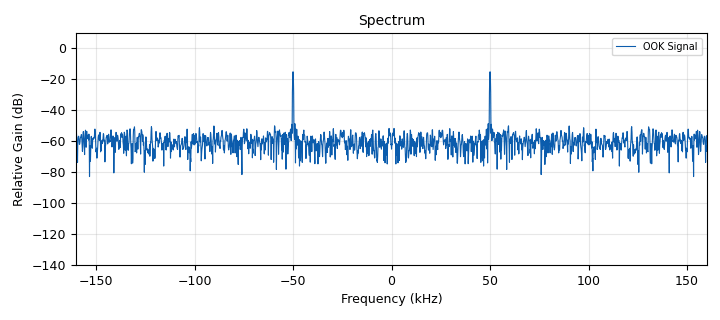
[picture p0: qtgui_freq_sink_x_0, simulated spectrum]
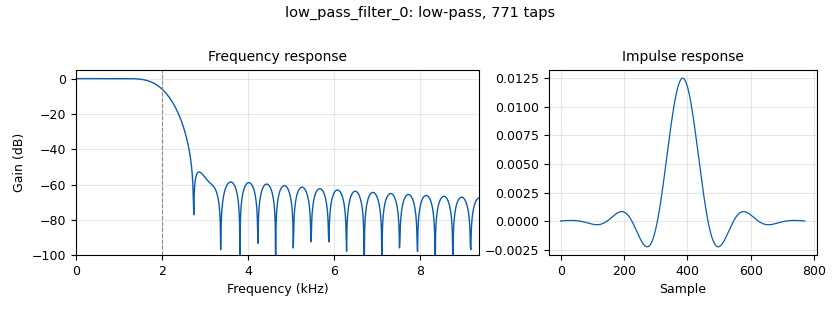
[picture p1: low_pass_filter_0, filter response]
options:
  parameters:
    author: Workshop
    comment: On-Off Keying digital modulation
    description: Simple OOK transmitter and receiver
    generate_options: qt_gui
    id: ook_transceiver
    output_language: python
    title: OOK Transceiver Demo
  states: {}

blocks:
- name: bit_rate
  id: variable
  parameters:
    value: '1000'
  states: {}
- name: carrier_freq
  id: variable_qtgui_range
  parameters:
    gui_hint: 0,0,1,2
    label: Carrier Frequency (Hz)
    start: '10000'
    step: '1000'
    stop: '100000'
    value: '50000'
  states: {}
- name: samp_rate
  id: variable
  parameters:
    value: '320000'
  states: {}
- name: sps
  id: variable
  parameters:
    comment: Samples per symbol
    value: int(samp_rate/bit_rate)
  states: {}
- name: analog_random_source_x_0
  id: analog_random_source_x
  parameters:
    comment: Random bit generator
    max: '2'
    min: '0'
    num_samps: '1000'
    repeat: 'True'
    type: byte
  states: {}
- name: blocks_repeat_0
  id: blocks_repeat
  parameters:
    comment: Upsample bits
    interp: sps
    type: byte
  states: {}
- name: blocks_uchar_to_float_0
  id: blocks_uchar_to_float
  parameters: {}
  states: {}
- name: analog_sig_source_x_0
  id: analog_sig_source_x
  parameters:
    amp: '1'
    comment: Carrier
    freq: carrier_freq
    offset: '0'
    phase: '0'
    samp_rate: samp_rate
    type: float
    waveform: analog.GR_COS_WAVE
  states: {}
- name: blocks_multiply_xx_0
  id: blocks_multiply_xx
  parameters:
    comment: OOK modulation
    type: float
  states: {}
- name: blocks_throttle_0
  id: blocks_throttle
  parameters:
    samples_per_second: samp_rate
    type: float
  states: {}
- name: blocks_add_xx_0
  id: blocks_add_xx
  parameters:
    comment: Add noise
    type: float
  states: {}
- name: analog_noise_source_x_0
  id: analog_noise_source_x
  parameters:
    amp: '0.1'
    comment: Channel noise
    noise_type: analog.GR_GAUSSIAN
    seed: '0'
    type: float
  states: {}
- name: blocks_complex_to_mag_0
  id: blocks_complex_to_mag
  parameters:
    comment: Envelope detector
  states: {}
- name: analog_hilbert_fc_0
  id: analog_hilbert_fc
  parameters:
    comment: Hilbert transform for envelope
    num_taps: '65'
    win: window.WIN_HAMMING
  states: {}
- name: low_pass_filter_0
  id: low_pass_filter
  parameters:
    comment: Baseband filter
    cutoff_freq: bit_rate*2
    decim: '1'
    gain: '1'
    samp_rate: samp_rate
    type: fir_filter_fff
    width: bit_rate
    win: window.WIN_HAMMING
  states: {}
- name: qtgui_time_sink_x_0
  id: qtgui_time_sink_x
  parameters:
    grid: 'True'
    gui_hint: 1,0,2,2
    label1: Data
    label2: OOK Signal
    label3: Received
    name: '"Time Domain"'
    nconnections: '3'
    size: '4096'
    srate: samp_rate
    tr_level: '0.5'
    type: float
    ymax: '1.5'
    ymin: '-0.5'
  states: {}
- name: qtgui_freq_sink_x_0
  id: qtgui_freq_sink_x
  parameters:
    bw: samp_rate
    fc: '0'
    fftsize: '2048'
    grid: 'True'
    gui_hint: 3,0,2,2
    label1: OOK Signal
    name: '"Spectrum"'
    type: float
  states: {}

connections:
- [analog_hilbert_fc_0, '0', blocks_complex_to_mag_0, '0']
- [analog_noise_source_x_0, '0', blocks_add_xx_0, '1']
- [analog_random_source_x_0, '0', blocks_repeat_0, '0']
- [analog_sig_source_x_0, '0', blocks_multiply_xx_0, '1']
- [blocks_add_xx_0, '0', analog_hilbert_fc_0, '0']
- [blocks_add_xx_0, '0', qtgui_freq_sink_x_0, '0']
- [blocks_complex_to_mag_0, '0', low_pass_filter_0, '0']
- [blocks_multiply_xx_0, '0', blocks_throttle_0, '0']
- [blocks_repeat_0, '0', blocks_uchar_to_float_0, '0']
- [blocks_throttle_0, '0', blocks_add_xx_0, '0']
- [blocks_throttle_0, '0', qtgui_time_sink_x_0, '1']
- [blocks_uchar_to_float_0, '0', blocks_multiply_xx_0, '0']
- [blocks_uchar_to_float_0, '0', qtgui_time_sink_x_0, '0']
- [low_pass_filter_0, '0', qtgui_time_sink_x_0, '2']

metadata:
  file_format: 1
  grc_version: 3.10.7.0
